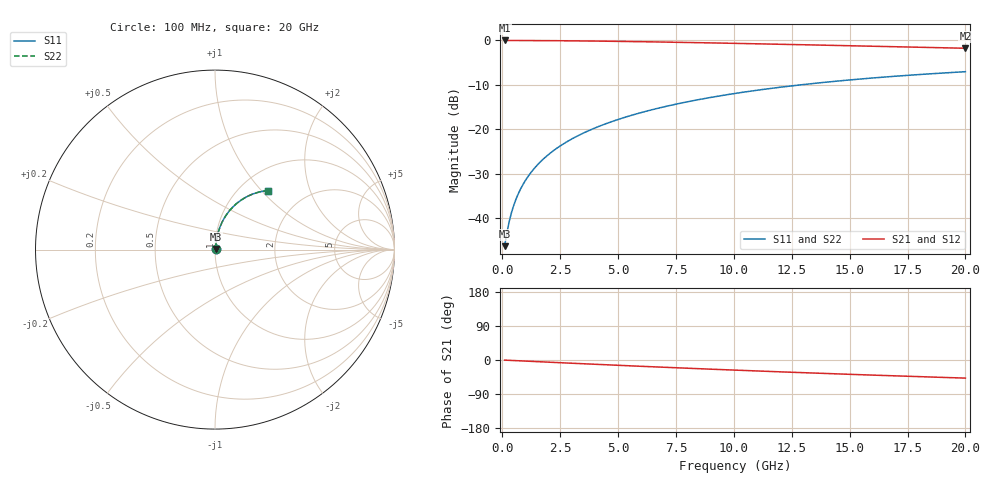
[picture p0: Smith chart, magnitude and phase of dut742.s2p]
! Touchstone file exported from HFSS 2024.1.0
!  File:  C:/UserFiles/LocalFiles/RDL_TSV_Batchsim/temp_RDL_bottom_742_1779859389.aedt
!  Generated:  01:25:27 PM May 27, 2026
!  Design:  RDL_bottom
!  Project:  temp_RDL_bottom_742_1779859389
!  Setup:  Setup1
!  Solution:  Sweep
! Variables:
!  dtsv = 10.80580581um
!  hbump = 3um
!  htsv = 68.96um
!  ldown = 699.53um
!  lrdl = 100um
!  p = 40
!  p1 = 43.53um
!  rhole = 1um
!  t = 450um
!  tdown = 4.03um
!  trdl = 3.915915916um
!  wdown = 16.01um
!  wrdl = 20um
# GHz S MA R 50.000000
! Terminal data exported
! Port[1] = RDL1_T1
! Port[2] = RDL1_T2
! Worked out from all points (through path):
!   200 points, 100 MHz to 20 GHz, reference 50 ohm
!   highest |S21| = -0.03 dB at 100 MHz (marker M1); lowest = -1.8 dB at 20 GHz (marker M2)
!   group delay of S21, straight-line fit = 6.62 ps
!   lowest |S11| = -46.3 dB at 100 MHz (marker M3), VSWR 1.01, Z = 50.4 + j0.279 ohm
!   |S11| at or under -10 dB: start of sweep to 12.93 GHz
!   |S22| runs from -46.3 to -7.1 dB; largest |S21 - S12| = 1e-14
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0.1  0.004819 35.0  0.9961 -0.3  0.9961 -0.3  0.004819 35.0
! Gamma 0 0 0 0
! Port Impedance 50 0 50 0
0.2  0.006834 53.2  0.9959 -0.6  0.9959 -0.6  0.006834 53.2
0.3  0.009165 62.2  0.9957 -0.9  0.9957 -0.9  0.009165 62.2
0.4  0.01158 67.3  0.9955 -1.2  0.9955 -1.2  0.01158 67.3
0.5  0.01403 70.7  0.9953 -1.5  0.9953 -1.5  0.01403 70.7
0.6  0.01649 73.0  0.9952 -1.7  0.9952 -1.7  0.01649 73.0
0.8  0.02147 76.1  0.9948 -2.3  0.9948 -2.3  0.02147 76.1
1.1  0.02902 78.5  0.9941 -3.2  0.9941 -3.2  0.02902 78.5
1.3  0.03409 79.5  0.9936 -3.7  0.9936 -3.7  0.03409 79.5
1.6  0.04172 80.3  0.9928 -4.6  0.9928 -4.6  0.04172 80.3
2.1  0.05449 80.7  0.9909 -6.0  0.9909 -6.0  0.05449 80.7
2.7  0.06984 80.6  0.9882 -7.7  0.9882 -7.7  0.06984 80.6
3.5  0.0903 79.8  0.9837 -9.9  0.9837 -9.9  0.0903 79.8
4.2  0.1082 78.8  0.9791 -11.9  0.9791 -11.9  0.1082 78.8
5  0.1285 77.6  0.973 -14.0  0.973 -14.0  0.1285 77.6
5.9  0.1512 76.0  0.9655 -16.4  0.9655 -16.4  0.1513 76.0
6.8  0.1738 74.3  0.9573 -18.7  0.9573 -18.7  0.1738 74.3
8.4  0.2131 71.1  0.9415 -22.7  0.9415 -22.7  0.2131 71.1
10.1  0.2535 67.6  0.9236 -26.9  0.9236 -26.9  0.2535 67.6
13.4  0.326 60.8  0.8869 -34.4  0.8869 -34.4  0.3261 60.8
16.7  0.3895 54.1  0.8498 -41.3  0.8498 -41.3  0.3895 54.1
20  0.4432 47.9  0.8138 -47.8  0.8138 -47.8  0.4432 47.9
